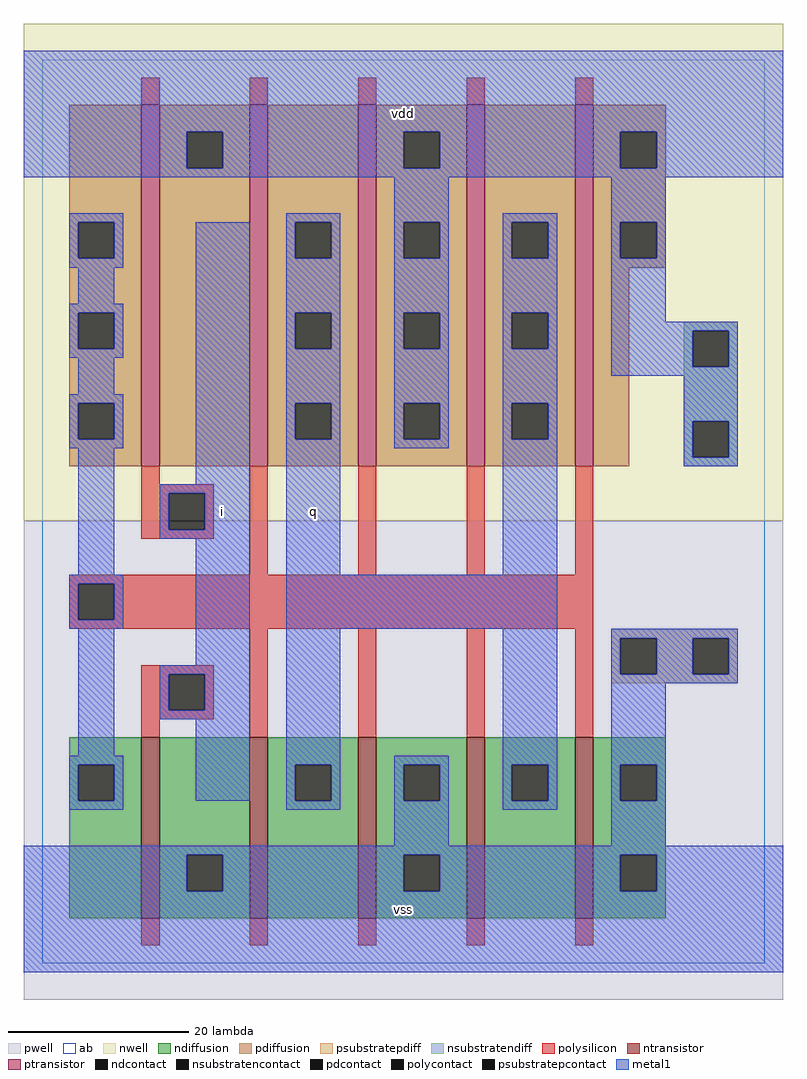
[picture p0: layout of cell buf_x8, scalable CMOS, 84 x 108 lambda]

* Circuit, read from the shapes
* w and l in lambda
.subckt buf_x8 i q vdd vss
M1 vss i n1 vss nfet w=20 l=2
M2 q n1 vss vss nfet w=20 l=2 m=4
M3 vdd i n1 vdd pfet w=40 l=2
M4 q n1 vdd vdd pfet w=40 l=2 m=4
.ends

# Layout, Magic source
magic
tech scmos
<< ab >>
rect 0 0 80 100
<< pwell >>
rect -2 -4 82 49
<< nwell >>
rect -2 49 82 104
<< polysilicon >>
rect 11 95 13 98
rect 23 95 25 98
rect 35 95 37 98
rect 47 95 49 98
rect 59 95 61 98
rect 11 53 13 55
rect 11 52 19 53
rect 11 48 14 52
rect 18 48 19 52
rect 11 47 19 48
rect 23 43 25 55
rect 35 43 37 55
rect 47 43 49 55
rect 59 43 61 55
rect 3 42 61 43
rect 3 38 4 42
rect 8 38 61 42
rect 3 37 61 38
rect 11 32 19 33
rect 11 28 14 32
rect 18 28 19 32
rect 11 27 19 28
rect 11 25 13 27
rect 23 25 25 37
rect 35 25 37 37
rect 47 25 49 37
rect 59 25 61 37
rect 11 2 13 5
rect 23 2 25 5
rect 35 2 37 5
rect 47 2 49 5
rect 59 2 61 5
<< ndiffusion >>
rect 3 22 11 25
rect 3 18 4 22
rect 8 18 11 22
rect 3 5 11 18
rect 13 12 23 25
rect 13 8 16 12
rect 20 8 23 12
rect 13 5 23 8
rect 25 22 35 25
rect 25 18 28 22
rect 32 18 35 22
rect 25 5 35 18
rect 37 22 47 25
rect 37 18 40 22
rect 44 18 47 22
rect 37 12 47 18
rect 37 8 40 12
rect 44 8 47 12
rect 37 5 47 8
rect 49 22 59 25
rect 49 18 52 22
rect 56 18 59 22
rect 49 5 59 18
rect 61 22 69 25
rect 61 18 64 22
rect 68 18 69 22
rect 61 12 69 18
rect 61 8 64 12
rect 68 8 69 12
rect 61 5 69 8
<< pdiffusion >>
rect 3 82 11 95
rect 3 78 4 82
rect 8 78 11 82
rect 3 72 11 78
rect 3 68 4 72
rect 8 68 11 72
rect 3 62 11 68
rect 3 58 4 62
rect 8 58 11 62
rect 3 55 11 58
rect 13 92 23 95
rect 13 88 16 92
rect 20 88 23 92
rect 13 55 23 88
rect 25 82 35 95
rect 25 78 28 82
rect 32 78 35 82
rect 25 72 35 78
rect 25 68 28 72
rect 32 68 35 72
rect 25 62 35 68
rect 25 58 28 62
rect 32 58 35 62
rect 25 55 35 58
rect 37 92 47 95
rect 37 88 40 92
rect 44 88 47 92
rect 37 82 47 88
rect 37 78 40 82
rect 44 78 47 82
rect 37 72 47 78
rect 37 68 40 72
rect 44 68 47 72
rect 37 62 47 68
rect 37 58 40 62
rect 44 58 47 62
rect 37 55 47 58
rect 49 82 59 95
rect 49 78 52 82
rect 56 78 59 82
rect 49 72 59 78
rect 49 68 52 72
rect 56 68 59 72
rect 49 62 59 68
rect 49 58 52 62
rect 56 58 59 62
rect 49 55 59 58
rect 61 92 69 95
rect 61 88 64 92
rect 68 88 69 92
rect 61 82 69 88
rect 61 78 64 82
rect 68 78 69 82
rect 61 77 69 78
rect 61 55 65 77
<< metal1 >>
rect -2 92 82 101
rect -2 88 16 92
rect 20 88 40 92
rect 44 88 64 92
rect 68 88 82 92
rect -2 87 82 88
rect 3 82 9 83
rect 27 82 33 83
rect 3 78 4 82
rect 8 78 9 82
rect 3 77 9 78
rect 4 73 8 77
rect 3 72 9 73
rect 3 68 4 72
rect 8 68 9 72
rect 3 67 9 68
rect 4 63 8 67
rect 3 62 9 63
rect 3 58 4 62
rect 8 58 9 62
rect 3 57 9 58
rect 4 43 8 57
rect 17 53 23 82
rect 13 52 23 53
rect 13 48 14 52
rect 18 48 23 52
rect 13 47 23 48
rect 3 42 9 43
rect 3 38 4 42
rect 8 38 9 42
rect 3 37 9 38
rect 4 23 8 37
rect 17 33 23 47
rect 13 32 23 33
rect 13 28 14 32
rect 18 28 23 32
rect 13 27 23 28
rect 3 22 9 23
rect 3 18 4 22
rect 8 18 9 22
rect 17 18 23 27
rect 27 78 28 82
rect 32 78 33 82
rect 27 72 33 78
rect 27 68 28 72
rect 32 68 33 72
rect 27 62 33 68
rect 27 58 28 62
rect 32 58 33 62
rect 27 43 33 58
rect 39 82 45 87
rect 39 78 40 82
rect 44 78 45 82
rect 39 72 45 78
rect 39 68 40 72
rect 44 68 45 72
rect 39 62 45 68
rect 39 58 40 62
rect 44 58 45 62
rect 39 57 45 58
rect 51 82 57 83
rect 51 78 52 82
rect 56 78 57 82
rect 51 72 57 78
rect 51 68 52 72
rect 56 68 57 72
rect 51 62 57 68
rect 63 82 69 87
rect 63 78 64 82
rect 68 78 69 82
rect 63 71 69 78
rect 63 70 77 71
rect 63 66 72 70
rect 76 66 77 70
rect 63 65 77 66
rect 51 58 52 62
rect 56 58 57 62
rect 51 43 57 58
rect 71 60 77 65
rect 71 56 72 60
rect 76 56 77 60
rect 71 55 77 56
rect 27 37 57 43
rect 27 22 33 37
rect 27 18 28 22
rect 32 18 33 22
rect 3 17 9 18
rect 27 17 33 18
rect 39 22 45 23
rect 39 18 40 22
rect 44 18 45 22
rect 39 13 45 18
rect 51 22 57 37
rect 51 18 52 22
rect 56 18 57 22
rect 51 17 57 18
rect 63 36 77 37
rect 63 32 64 36
rect 68 32 72 36
rect 76 32 77 36
rect 63 31 77 32
rect 63 22 69 31
rect 63 18 64 22
rect 68 18 69 22
rect 63 13 69 18
rect -2 12 82 13
rect -2 8 16 12
rect 20 8 40 12
rect 44 8 64 12
rect 68 8 82 12
rect -2 -1 82 8
<< ntransistor >>
rect 11 5 13 25
rect 23 5 25 25
rect 35 5 37 25
rect 47 5 49 25
rect 59 5 61 25
<< ptransistor >>
rect 11 55 13 95
rect 23 55 25 95
rect 35 55 37 95
rect 47 55 49 95
rect 59 55 61 95
<< polycontact >>
rect 14 48 18 52
rect 4 38 8 42
rect 14 28 18 32
<< ndcontact >>
rect 4 18 8 22
rect 16 8 20 12
rect 28 18 32 22
rect 40 18 44 22
rect 40 8 44 12
rect 52 18 56 22
rect 64 18 68 22
rect 64 8 68 12
<< pdcontact >>
rect 4 78 8 82
rect 4 68 8 72
rect 4 58 8 62
rect 16 88 20 92
rect 28 78 32 82
rect 28 68 32 72
rect 28 58 32 62
rect 40 88 44 92
rect 40 78 44 82
rect 40 68 44 72
rect 40 58 44 62
rect 52 78 56 82
rect 52 68 56 72
rect 52 58 56 62
rect 64 88 68 92
rect 64 78 68 82
<< psubstratepcontact >>
rect 64 32 68 36
rect 72 32 76 36
<< nsubstratencontact >>
rect 72 66 76 70
rect 72 56 76 60
<< psubstratepdiff >>
rect 63 36 77 37
rect 63 32 64 36
rect 68 32 72 36
rect 76 32 77 36
rect 63 31 77 32
<< nsubstratendiff >>
rect 71 70 77 71
rect 71 66 72 70
rect 76 66 77 70
rect 71 60 77 66
rect 71 56 72 60
rect 76 56 77 60
rect 71 55 77 56
<< labels >>
rlabel metal1 30 50 30 50 6 q
rlabel metal1 30 50 30 50 6 q
rlabel metal1 20 50 20 50 6 i
rlabel metal1 20 50 20 50 6 i
rlabel metal1 40 6 40 6 6 vss
rlabel metal1 40 6 40 6 6 vss
rlabel metal1 40 94 40 94 6 vdd
rlabel metal1 40 94 40 94 6 vdd
<< end >>
